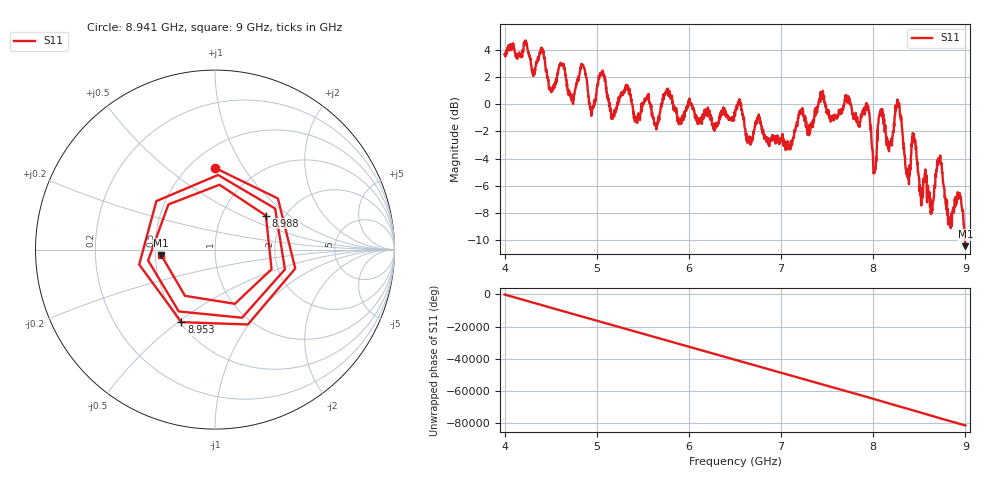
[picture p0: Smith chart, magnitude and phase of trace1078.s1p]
! Created with skrf 1.8.0 (http://scikit-rf.org).
# Hz S RI R 50.0
!freq ReS11 ImS11
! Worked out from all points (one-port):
!   1601 points, 4 GHz to 9 GHz, reference 50 ohm
!   lowest |S11| = -10.4 dB at 9 GHz (marker M1), VSWR 1.86, Z = 26.9 - j1.84 ohm
!   |S11| at or under -10 dB: 8.995107 GHz to end of sweep
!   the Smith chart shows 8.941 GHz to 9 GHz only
!   S11 on the Smith chart (normalised r, x): 8.941 GHz: 0.66, +0.75; 8.953 GHz: 0.51, -0.51; 8.988 GHz: 1.61, +0.69; 9 GHz: 0.54, -0.04
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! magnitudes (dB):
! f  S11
! 4 GHz  3.6
! 4.406 GHz  3.8
! 4.506 GHz  0.9
! 4.625 GHz  2.9
! 4.731 GHz  0.2
! 4.844 GHz  2.8
! 4.941 GHz  -0.9
! 5.053 GHz  2.3
! 5.166 GHz  -1.0
! 5.25 GHz  0.6
! 5.875 GHz  -0.9
! 6.5 GHz  -0.9
! 7.125 GHz  -2.7
! 7.75 GHz  0.0
! 7.938 GHz  -0.1
! 8.012 GHz  -5.0
! 8.075 GHz  -0.7
! 8.178 GHz  -2.9
! 8.266 GHz  0.2
! 8.375 GHz  -5.3
! 8.441 GHz  -2.2
! 8.625 GHz  -8.0
! 8.719 GHz  -4.2
! 8.828 GHz  -8.6
! 8.941 GHz  -6.8
! 8.953 GHz  -7.0
! 8.988 GHz  -9.3
! 9 GHz  -10.4
